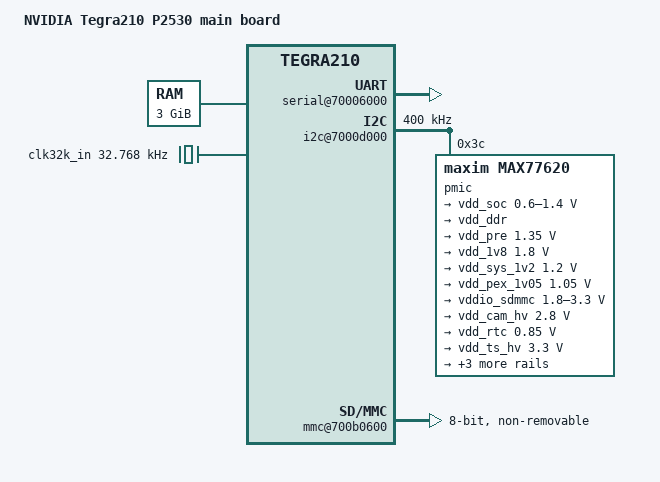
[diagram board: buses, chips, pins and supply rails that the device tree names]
// SPDX-License-Identifier: GPL-2.0
#include <dt-bindings/mfd/max77620.h>

#include "tegra210.dtsi"

/ {
	model = "NVIDIA Tegra210 P2530 main board";
	compatible = "nvidia,p2530", "nvidia,tegra210";

	aliases {
		rtc0 = "/i2c@7000d000/pmic@3c";
		rtc1 = "/rtc@7000e000";
		serial0 = &uarta;
	};

	chosen {
		stdout-path = "serial0:115200n8";
	};

	memory@80000000 {
		device_type = "memory";
		reg = <0x0 0x80000000 0x0 0xc0000000>;
	};

	/* debug port */
	serial@70006000 {
		/delete-property/ dmas;
		/delete-property/ dma-names;
		status = "okay";
	};

	i2c@7000d000 {
		status = "okay";
		clock-frequency = <400000>;

		pmic: pmic@3c {
			compatible = "maxim,max77620";
			reg = <0x3c>;
			interrupts = <GIC_SPI 86 IRQ_TYPE_LEVEL_HIGH>;

			#interrupt-cells = <2>;
			interrupt-controller;

			#gpio-cells = <2>;
			gpio-controller;

			pinctrl-names = "default";
			pinctrl-0 = <&max77620_default>;

			fps {
				fps0 {
					maxim,fps-event-source = <MAX77620_FPS_EVENT_SRC_EN0>;
					maxim,shutdown-fps-time-period-us = <5120>;
				};

				fps1 {
					maxim,device-state-on-disabled-event = <MAX77620_FPS_INACTIVE_STATE_SLEEP>;
					maxim,fps-event-source = <MAX77620_FPS_EVENT_SRC_EN1>;
					maxim,shutdown-fps-time-period-us = <5120>;
				};

				fps2 {
					maxim,fps-event-source = <MAX77620_FPS_EVENT_SRC_EN0>;
				};
			};

			max77620_default: pinmux {
				gpio0 {
					pins = "gpio0";
					function = "gpio";
				};

				gpio1 {
					pins = "gpio1";
					function = "fps-out";
					drive-push-pull = <1>;
					maxim,active-fps-source = <MAX77620_FPS_SRC_0>;
					maxim,active-fps-power-up-slot = <7>;
					maxim,active-fps-power-down-slot = <0>;
				};

				gpio2_3 {
					pins = "gpio2", "gpio3";
					function = "fps-out";
					drive-open-drain = <1>;
					maxim,active-fps-source = <MAX77620_FPS_SRC_0>;
				};

				gpio4 {
					pins = "gpio4";
					function = "32k-out1";
				};

				gpio5_6_7 {
					pins = "gpio5", "gpio6", "gpio7";
					function = "gpio";
					drive-push-pull = <1>;
				};
			};

			regulators {
				in-ldo0-1-supply = <&vdd_pre>;
				in-ldo7-8-supply = <&vdd_pre>;

				vdd_soc: sd0 {
					regulator-name = "VDD_SOC";
					regulator-min-microvolt = <600000>;
					regulator-max-microvolt = <1400000>;
					regulator-always-on;
					regulator-boot-on;

					regulator-enable-ramp-delay = <146>;
					regulator-ramp-delay = <9100>;

					maxim,active-fps-source = <MAX77620_FPS_SRC_1>;
				};

				vdd_ddr: sd1 {
					regulator-name = "VDD_DDR_1V1_PMIC";
					regulator-always-on;
					regulator-boot-on;

					regulator-enable-ramp-delay = <130>;
					regulator-ramp-delay = <9100>;

					maxim,active-fps-source = <MAX77620_FPS_SRC_0>;
				};

				vdd_pre: sd2 {
					regulator-name = "VDD_PRE_REG_1V35";
					regulator-min-microvolt = <1350000>;
					regulator-max-microvolt = <1350000>;

					regulator-enable-ramp-delay = <176>;
					regulator-ramp-delay = <7900>;

					maxim,active-fps-source = <MAX77620_FPS_SRC_NONE>;
				};

				vdd_1v8: sd3 {
					regulator-name = "VDD_1V8";
					regulator-min-microvolt = <1800000>;
					regulator-max-microvolt = <1800000>;
					regulator-always-on;
					regulator-boot-on;

					regulator-enable-ramp-delay = <242>;
					regulator-ramp-delay = <7700>;

					maxim,active-fps-source = <MAX77620_FPS_SRC_0>;
				};

				vdd_sys_1v2: ldo0 {
					regulator-name = "AVDD_SYS_1V2";
					regulator-min-microvolt = <1200000>;
					regulator-max-microvolt = <1200000>;
					regulator-boot-on;

					regulator-enable-ramp-delay = <26>;
					regulator-ramp-delay = <50000>;

					maxim,active-fps-source = <MAX77620_FPS_SRC_NONE>;
				};

				vdd_pex_1v05: ldo1 {
					regulator-name = "VDD_PEX_1V05";
					regulator-min-microvolt = <1050000>;
					regulator-max-microvolt = <1050000>;

					regulator-enable-ramp-delay = <22>;
					regulator-ramp-delay = <50000>;

					maxim,active-fps-source = <MAX77620_FPS_SRC_1>;
				};

				vddio_sdmmc: ldo2 {
					regulator-name = "VDDIO_SDMMC";
					regulator-min-microvolt = <1800000>;
					regulator-max-microvolt = <3300000>;

					regulator-ramp-delay = <50000>;

					maxim,active-fps-source = <MAX77620_FPS_SRC_NONE>;
				};

				vdd_cam_hv: ldo3 {
					regulator-name = "VDD_CAM_HV";
					regulator-min-microvolt = <2800000>;
					regulator-max-microvolt = <2800000>;

					regulator-enable-ramp-delay = <50>;
					regulator-ramp-delay = <50000>;

					maxim,active-fps-source = <MAX77620_FPS_SRC_NONE>;
				};

				vdd_rtc: ldo4 {
					regulator-name = "VDD_RTC";
					regulator-min-microvolt = <850000>;
					regulator-max-microvolt = <850000>;
					regulator-always-on;
					regulator-boot-on;

					regulator-enable-ramp-delay = <22>;
					regulator-ramp-delay = <50000>;

					maxim,active-fps-source = <MAX77620_FPS_SRC_0>;
				};

				vdd_ts_hv: ldo5 {
					regulator-name = "VDD_TS_HV";
					regulator-min-microvolt = <3300000>;
					regulator-max-microvolt = <3300000>;

					regulator-enable-ramp-delay = <62>;
					regulator-ramp-delay = <50000>;

					maxim,active-fps-source = <MAX77620_FPS_SRC_NONE>;
				};

				vdd_ts: ldo6 {
					regulator-name = "VDD_TS_1V8";
					regulator-min-microvolt = <1800000>;
					regulator-max-microvolt = <1800000>;
					regulator-boot-on;

					regulator-enable-ramp-delay = <36>;
					regulator-ramp-delay = <50000>;

					maxim,active-fps-source = <MAX77620_FPS_SRC_0>;
				};

				avdd_1v05_pll: ldo7 {
					regulator-name = "AVDD_1V05_PLL";
					regulator-min-microvolt = <1050000>;
					regulator-max-microvolt = <1050000>;
					regulator-always-on;
					regulator-boot-on;

					regulator-enable-ramp-delay = <24>;
					regulator-ramp-delay = <50000>;

					maxim,active-fps-source = <MAX77620_FPS_SRC_1>;
				};

				avdd_1v05: ldo8 {
					regulator-name = "AVDD_SATA_HDMI_DP_1V05";
					regulator-min-microvolt = <1050000>;
					regulator-max-microvolt = <1050000>;

					regulator-enable-ramp-delay = <22>;
					regulator-ramp-delay = <50000>;

					maxim,active-fps-source = <MAX77620_FPS_SRC_1>;
				};
			};
		};
	};

	pmc@7000e400 {
		nvidia,invert-interrupt;
	};

	/* eMMC */
	mmc@700b0600 {
		status = "okay";
		bus-width = <8>;
		non-removable;
	};

	clk32k_in: clock-32k {
		compatible = "fixed-clock";
		clock-frequency = <32768>;
		#clock-cells = <0>;
	};

	cpus {
		cpu@0 {
			enable-method = "psci";
		};

		cpu@1 {
			enable-method = "psci";
		};

		cpu@2 {
			enable-method = "psci";
		};

		cpu@3 {
			enable-method = "psci";
		};
	};

	psci {
		compatible = "arm,psci-0.2";
		method = "smc";
	};
};
